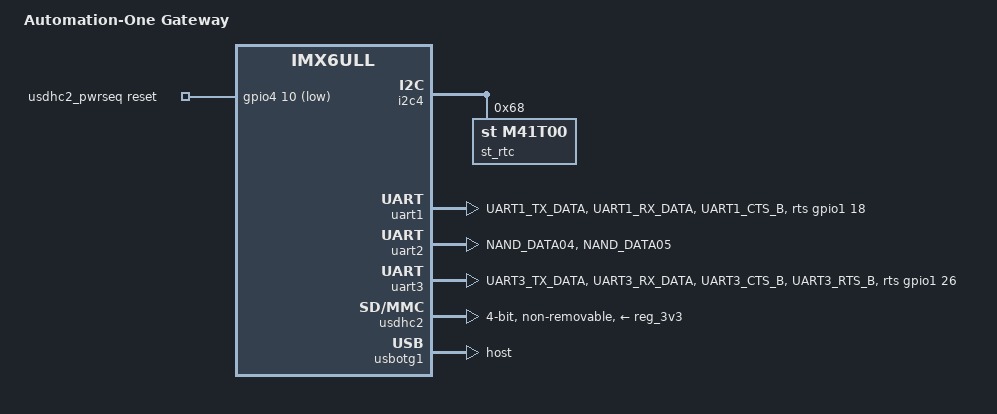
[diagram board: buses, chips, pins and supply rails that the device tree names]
// SPDX-License-Identifier: GPL-2.0
/*
 * Copyright (C) 2017 exceet electronics GmbH
 * Copyright (C) 2019 Kontron Electronics GmbH
 */

/dts-v1/;

#include "imx6ull-kontron-n6411-som.dtsi"
#include "imx6ul-kontron-n6x1x-s.dtsi"

/ {
	model = "Automation-One Gateway";
	compatible = "automation-one,imx6ull-gw", "kontron,imx6ull-n6411-s",
		     "kontron,imx6ull-n6411-som", "fsl,imx6ull";

	aliases {
		rtc0 = &st_rtc;
		rtc1 = &snvs_rtc;
	};

	/delete-node/ gpio-leds;

	usdhc2_pwrseq: usdhc2_pwrseq {
		compatible = "mmc-pwrseq-simple";
		reset-gpios = <&gpio4 10 GPIO_ACTIVE_LOW>;
	};
};

&epson_rtc {
	status = "disabled";
};

&i2c4 {
	st_rtc: m41t00@68 {
		compatible = "st,m41t00";
		reg = <0x68>;
	};
};

&uart1 {
	pinctrl-names = "default";
	pinctrl-0 = <&pinctrl_uart1>;
	rts-gpios = <&gpio1 18 GPIO_ACTIVE_HIGH>;
	linux,rs485-enabled-at-boot-time;
	status = "okay";
};

&uart2 {
	pinctrl-names = "default";
	pinctrl-0 = <&pinctrl_uart2>;
	status = "okay";
};

&uart3 {
	pinctrl-names = "default";
	pinctrl-0 = <&pinctrl_uart3>;
	rts-gpios = <&gpio1 26 GPIO_ACTIVE_HIGH>;
	cts-gpios = <&gpio1 27 GPIO_ACTIVE_HIGH>;
	status = "okay";
};

&usdhc2 {
	pinctrl-names = "default", "state_100mhz", "state_200mhz";
	pinctrl-0 = <&pinctrl_usdhc2>;
	pinctrl-1 = <&pinctrl_usdhc2_100mhz>;
	pinctrl-2 = <&pinctrl_usdhc2_200mhz>;
	bus-width = <4>;
	non-removable;
	keep-power-in-suspend;
	wakeup-source;
	vmmc-supply = <&reg_3v3>;
	voltage-ranges = <3300 3300>;
	no-1-8-v;
	mmc-pwrseq = <&usdhc2_pwrseq>;
	status = "okay";
};

&usbotg1 {
	dr_mode = "host";
};

&iomuxc {
	pinctrl_uart1: uart1grp {
		fsl,pins = <
			MX6UL_PAD_UART1_TX_DATA__UART1_DCE_TX	0x1b0b1
			MX6UL_PAD_UART1_RX_DATA__UART1_DCE_RX	0x1b0b1
			MX6UL_PAD_UART1_CTS_B__GPIO1_IO18	0x10b0
		>;
	};

	pinctrl_uart2: uart2grp {
		fsl,pins = <
			MX6UL_PAD_NAND_DATA04__UART2_DCE_TX	0x1b0b1
			MX6UL_PAD_NAND_DATA05__UART2_DCE_RX	0x1b0b1
		>;
	};

	pinctrl_uart3: uart3grp {
		fsl,pins = <
			MX6UL_PAD_UART3_TX_DATA__UART3_DCE_TX	0x1b0b1
			MX6UL_PAD_UART3_RX_DATA__UART3_DCE_RX	0x1b0b1
			MX6UL_PAD_UART3_CTS_B__GPIO1_IO26	0x10b0
			MX6UL_PAD_UART3_RTS_B__GPIO1_IO27	0x10b0
		>;
	};
};
